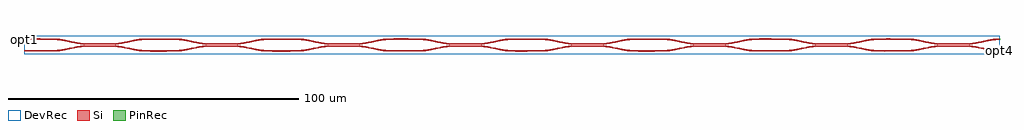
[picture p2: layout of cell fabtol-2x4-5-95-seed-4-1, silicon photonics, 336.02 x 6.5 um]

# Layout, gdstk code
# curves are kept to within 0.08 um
import gdstk
lib = gdstk.Library(unit=1e-6, precision=1e-09)
def R(c, l, rs):  # rectangles x0, y0, x1, y1
    for r in rs: c.add(gdstk.rectangle(r[:2], r[2:], *l))
def P(c, l, *ps):  # polygons
    for p in ps: c.add(gdstk.Polygon(p, *l))
Si = (1, 0)
PinRec = (1, 10)
DevRec = (68, 0)

layer_0_0_phase_sec_0_19 = lib.new_cell('layer-0_0_phase_sec_0$19')
P(layer_0_0_phase_sec_0_19, Si, [(4.221,-0.241),(0,-0.225),(0,0.225),(10,0.225),(10,-0.225)])

layer_0_0_phase_sec_1_19 = lib.new_cell('layer-0_0_phase_sec_1$19')
P(layer_0_0_phase_sec_1_19, Si, [(2.433,-0.227),(0,-0.225),(0,0.225),(10,0.225),(10,-0.225)])

layer_3_0_phase_sec_2_19 = lib.new_cell('layer-3_0_phase_sec_2$19')
P(layer_3_0_phase_sec_2_19, Si, [(4.167,-0.242),(0,-0.225),(0,0.225),(10,0.225),(10,-0.225)])

layer_1_0_phase_sec_1_19 = lib.new_cell('layer-1_0_phase_sec_1$19')
P(layer_1_0_phase_sec_1_19, Si, [(6.072,-0.244),(0,-0.225),(0,0.225),(10,0.225),(10,-0.225)])

dc_arm_down_19 = lib.new_cell('dc_arm_down$19')
R(dc_arm_down_19, Si, [(12,-0.55,20,-0.1)])
P(dc_arm_down_19, Si, [(32,-2.225),(30.861,-2.188),(29.344,-2.033),(22.966,-0.793),(21.481,-0.613),(20,-0.55),(20,-0.1),(21.139,-0.137),(22.656,-0.292),(29.034,-1.532),(30.519,-1.712),(32,-1.775)],
  [(0,-2.225),(0,-1.775),(1.481,-1.712),(2.966,-1.532),(9.344,-0.292),(10.861,-0.137),(12,-0.1),(12,-0.55),(10.519,-0.613),(9.034,-0.793),(2.656,-2.033),(1.139,-2.188)])

dc_arm_up_19 = lib.new_cell('dc_arm_up$19')
R(dc_arm_up_19, Si, [(12,0.1,20,0.55)])
P(dc_arm_up_19, Si, [(20,0.1),(20,0.55),(21.481,0.613),(22.966,0.793),(29.344,2.033),(30.861,2.188),(32,2.225),(32,1.775),(30.519,1.712),(29.034,1.532),(22.656,0.292),(21.139,0.137)],
  [(12,0.1),(10.861,0.137),(9.344,0.292),(2.966,1.532),(1.481,1.712),(0,1.775),(0,2.225),(1.139,2.188),(2.656,2.033),(9.034,0.793),(10.519,0.613),(12,0.55)])

dc_19 = lib.new_cell('dc$19')
dc_19.add(gdstk.Reference(dc_arm_down_19, (0,0)))
dc_19.add(gdstk.Reference(dc_arm_up_19, (0,0)))

layer_3_0_phase_sec_3_19 = lib.new_cell('layer-3_0_phase_sec_3$19')
P(layer_3_0_phase_sec_3_19, Si, [(2.29,-0.237),(0,-0.225),(0,0.225),(10,0.225),(10,-0.225)])

layer_1_0_phase_sec_2_19 = lib.new_cell('layer-1_0_phase_sec_2$19')
P(layer_1_0_phase_sec_2_19, Si, [(6.341,-0.247),(0,-0.225),(0,0.225),(10,0.225),(10,-0.225)])

layer_0_0_phase_sec_2_19 = lib.new_cell('layer-0_0_phase_sec_2$19')
P(layer_0_0_phase_sec_2_19, Si, [(3.456,-0.233),(0,-0.225),(0,0.225),(10,0.225),(10,-0.225)])

layer_1_0_phase_sec_3_19 = lib.new_cell('layer-1_0_phase_sec_3$19')
P(layer_1_0_phase_sec_3_19, Si, [(1.32,-0.232),(0,-0.225),(0,0.225),(10,0.225),(10,-0.225)])

layer_0_0_phase_sec_3_19 = lib.new_cell('layer-0_0_phase_sec_3$19')
P(layer_0_0_phase_sec_3_19, Si, [(2.872,-0.247),(0,-0.225),(0,0.225),(10,0.225),(10,-0.225)])

layer_3_0_phase_sec_1_19 = lib.new_cell('layer-3_0_phase_sec_1$19')
P(layer_3_0_phase_sec_1_19, Si, [(5.638,-0.227),(0,-0.225),(0,0.225),(10,0.225),(10,-0.225)])

layer_1_0_phase_sec_0_19 = lib.new_cell('layer-1_0_phase_sec_0$19')
P(layer_1_0_phase_sec_0_19, Si, [(2.409,-0.235),(0,-0.225),(0,0.225),(10,0.225),(10,-0.225)])

layer_2_0_phase_sec_0_19 = lib.new_cell('layer-2_0_phase_sec_0$19')
P(layer_2_0_phase_sec_0_19, Si, [(1.052,-0.236),(0,-0.225),(0,0.225),(10,0.225),(10,-0.225)])

layer_2_0_phase_sec_1_19 = lib.new_cell('layer-2_0_phase_sec_1$19')
P(layer_2_0_phase_sec_1_19, Si, [(4.258,-0.243),(0,-0.225),(0,0.225),(10,0.225),(10,-0.225)])

layer_2_0_phase_sec_2_19 = lib.new_cell('layer-2_0_phase_sec_2$19')
P(layer_2_0_phase_sec_2_19, Si, [(2.268,-0.237),(0,-0.225),(0,0.225),(10,0.225),(10,-0.225)])

layer_3_0_phase_sec_0_19 = lib.new_cell('layer-3_0_phase_sec_0$19')
P(layer_3_0_phase_sec_0_19, Si, [(1.065,-0.252),(0,-0.225),(0,0.225),(10,0.225),(10,-0.225)])

layer_2_0_phase_sec_3_19 = lib.new_cell('layer-2_0_phase_sec_3$19')
P(layer_2_0_phase_sec_3_19, Si, [(2.86,-0.243),(0,-0.225),(0,0.225),(10,0.225),(10,-0.225)])

fabtol_2x4_5_95_seed_4_1 = lib.new_cell('fabtol-2x4-5-95-seed-4-1')
R(fabtol_2x4_5_95_seed_4_1, DevRec, [(0,-1,336,5.499)])
fabtol_2x4_5_95_seed_4_1.add(gdstk.FlexPath([(335.99,0.247),(336.01,0.247)], 0.45, ends="flush", simple_path=True, layer=1, datatype=10))  # PinRec
fabtol_2x4_5_95_seed_4_1.add(gdstk.FlexPath([(335.99,4.247),(336.01,4.247)], 0.45, ends="flush", simple_path=True, layer=1, datatype=10))  # PinRec
fabtol_2x4_5_95_seed_4_1.add(gdstk.FlexPath([(0.01,4.247),(-0.01,4.247)], 0.45, ends="flush", simple_path=True, layer=1, datatype=10))  # PinRec
fabtol_2x4_5_95_seed_4_1.add(gdstk.Reference(layer_0_0_phase_sec_0_19, (0,4.247)))
fabtol_2x4_5_95_seed_4_1.add(gdstk.Reference(layer_0_0_phase_sec_1_19, (0,0.247)))
fabtol_2x4_5_95_seed_4_1.add(gdstk.Reference(layer_3_0_phase_sec_2_19, (294,4.247)))
fabtol_2x4_5_95_seed_4_1.add(gdstk.Reference(layer_1_0_phase_sec_1_19, (84,0.247)))
fabtol_2x4_5_95_seed_4_1.add(gdstk.Reference(dc_19, (10,2.247)))
fabtol_2x4_5_95_seed_4_1.add(gdstk.Reference(dc_19, (52,2.247)))
fabtol_2x4_5_95_seed_4_1.add(gdstk.Reference(dc_19, (94,2.247)))
fabtol_2x4_5_95_seed_4_1.add(gdstk.Reference(dc_19, (136,2.247)))
fabtol_2x4_5_95_seed_4_1.add(gdstk.Reference(dc_19, (178,2.247)))
fabtol_2x4_5_95_seed_4_1.add(gdstk.Reference(dc_19, (220,2.247)))
fabtol_2x4_5_95_seed_4_1.add(gdstk.Reference(dc_19, (262,2.247)))
fabtol_2x4_5_95_seed_4_1.add(gdstk.Reference(dc_19, (304,2.247)))
fabtol_2x4_5_95_seed_4_1.add(gdstk.Reference(layer_3_0_phase_sec_3_19, (294,0.247)))
fabtol_2x4_5_95_seed_4_1.add(gdstk.Reference(layer_1_0_phase_sec_2_19, (126,4.247)))
fabtol_2x4_5_95_seed_4_1.add(gdstk.Reference(layer_0_0_phase_sec_2_19, (42,4.247)))
fabtol_2x4_5_95_seed_4_1.add(gdstk.Reference(layer_1_0_phase_sec_3_19, (126,0.247)))
fabtol_2x4_5_95_seed_4_1.add(gdstk.Reference(layer_0_0_phase_sec_3_19, (42,0.247)))
fabtol_2x4_5_95_seed_4_1.add(gdstk.Reference(layer_3_0_phase_sec_1_19, (252,0.247)))
fabtol_2x4_5_95_seed_4_1.add(gdstk.Reference(layer_1_0_phase_sec_0_19, (84,4.247)))
fabtol_2x4_5_95_seed_4_1.add(gdstk.Reference(layer_2_0_phase_sec_0_19, (168,4.247)))
fabtol_2x4_5_95_seed_4_1.add(gdstk.Reference(layer_2_0_phase_sec_1_19, (168,0.247)))
fabtol_2x4_5_95_seed_4_1.add(gdstk.Reference(layer_2_0_phase_sec_2_19, (210,4.247)))
fabtol_2x4_5_95_seed_4_1.add(gdstk.Reference(layer_3_0_phase_sec_0_19, (252,4.247)))
fabtol_2x4_5_95_seed_4_1.add(gdstk.Reference(layer_2_0_phase_sec_3_19, (210,0.247)))
fabtol_2x4_5_95_seed_4_1.add(gdstk.Label('opt4', (336,0.247), layer=1, texttype=10))
fabtol_2x4_5_95_seed_4_1.add(gdstk.Label('opt3', (336,4.247), layer=1, texttype=10))
fabtol_2x4_5_95_seed_4_1.add(gdstk.Label('opt1', (0,4.247), layer=1, texttype=10))

lib.write_gds('fabtol-2x4-5-95-seed-4-1.gds')
